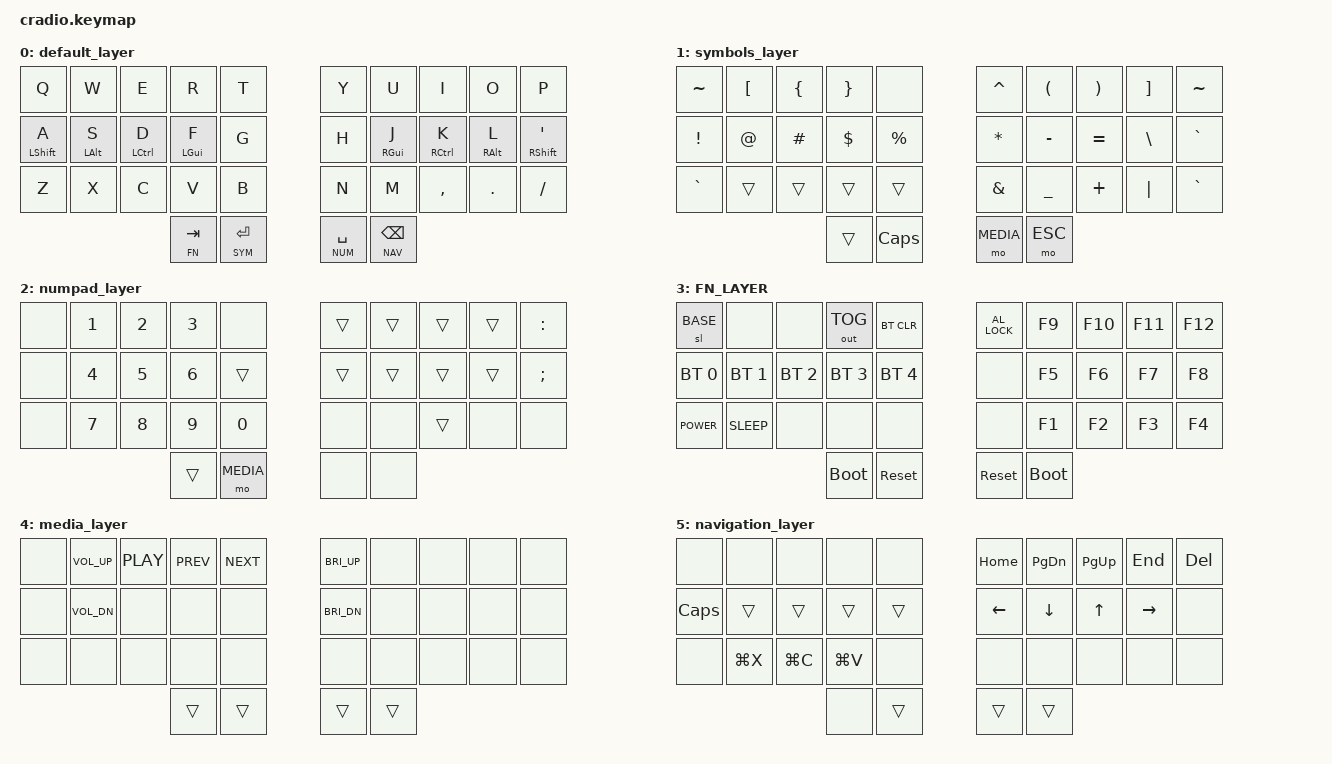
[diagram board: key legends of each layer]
// Copyright (c) 2022 The ZMK Contributors
// SPDX-License-Identifier: MIT

#include <behaviors.dtsi>
#include <dt-bindings/zmk/keys.h>
#include <dt-bindings/zmk/bt.h>
#include <dt-bindings/zmk/outputs.h>

#define QUICK_TAP_MS 150
#define TAPPING_TERM_MS 200
#define PRIOR_IDLE_MS 150

#define _SPC_    &kp SPACE
#define _CUT_    &kp LG(X)
#define _COPY_   &kp LG(C)
#define _PASTE_  &kp LG(V)
#define ___      &trans
#define _x_      &none

#define BASE 0
#define SYM 1
#define NUM 2
#define FN 3
#define MEDIA 4
#define NAV 5

// Key position groups for home row mods (34 keys layout)
#define LEFT_KEYS 0 1 2 3 4 5 6 7 8 9 10 11 12 13 14
#define RIGHT_KEYS 15 16 17 18 19 20 21 22 23 24 25 26 27 28 29
#define THUMB_KEYS 30 31 32 33

/ {
    combos {
        compatible = "zmk,combos";

        combo_esc {
            timeout-ms = <50>;
            key-positions = <0 1>; // Q + W
            bindings = <&kp ESC>;
        };

        combo_enter {
            timeout-ms = <50>;
            key-positions = <21 22>; // J + K
            bindings = <&kp ENTER>;
        };
    };

    behaviors {
        hml: hml {
          compatible = "zmk,behavior-hold-tap";
          #binding-cells = <2>;
          flavor = "balanced";
          tapping-term-ms = <TAPPING_TERM_MS>;
          quick-tap-ms = <QUICK_TAP_MS>;
          require-prior-idle-ms = <PRIOR_IDLE_MS>;
          bindings = <&kp>, <&kp>;
          hold-trigger-key-positions = <RIGHT_KEYS THUMB_KEYS>;
          hold-trigger-on-release;
        };

        hmr: hmr {
          compatible = "zmk,behavior-hold-tap";
          #binding-cells = <2>;
          flavor = "balanced";
          tapping-term-ms = <TAPPING_TERM_MS>;
          quick-tap-ms = <QUICK_TAP_MS>;
          require-prior-idle-ms = <PRIOR_IDLE_MS>;
          bindings = <&kp>, <&kp>;
          hold-trigger-key-positions = <LEFT_KEYS THUMB_KEYS>;
          hold-trigger-on-release;
        };
    };

    keymap {
        compatible = "zmk,keymap";

        // Layer 0: BASE
        default_layer {
            bindings = <
        //╭──────────┬──────────┬──────────┬──────────┬──────────╮   ╭──────────┬──────────┬──────────┬──────────┬──────────╮
        //│  Q       │  W       │  E       │  R       │  T       │   │  Y       │  U       │  I       │  O       │  P       │
            &kp Q    &kp W      &kp E      &kp R      &kp T          &kp Y      &kp U      &kp I      &kp O      &kp P
        //├──────────┼──────────┼──────────┼──────────┼──────────┤   ├──────────┼──────────┼──────────┼──────────┼──────────┤
        //│  A       │  S       │  D       │  F       │  G       │   │  H       │  J       │  K       │  L       │ ' "      │
     &hml LSHFT A &hml LALT S &hml LCTRL D  &hml LGUI F  &kp G      &kp H  &hmr RGUI J &hmr RCTRL K &hmr RALT L  &hmr RSHFT SQT
        //├──────────┼──────────┼──────────┼──────────┼──────────┤   ├──────────┼──────────┼──────────┼──────────┼──────────┤
        //│  Z       │  X       │  C       │  V       │  B       │   │  N       │  M       │ , <      │ . >      │ / ?      │
            &kp Z      &kp X      &kp C      &kp V      &kp B          &kp N      &kp M      &kp COMMA  &kp DOT    &kp FSLH
        //╰──────────┴──────────┴──────────┼──────────┼──────────┤   ├──────────┼──────────┼──────────┴──────────┴──────────╯
                                           &lt FN TAB &lt SYM ENTER  &lt NUM SPACE &lt NAV BSPC
        //                                 ╰──────────┴──────────╯   ╰──────────┴──────────╯
            >;
        };

        // Layer 1: SYM (Symbols)
        symbols_layer {
            bindings = <
        //╭──────────┬──────────┬──────────┬──────────┬──────────╮   ╭──────────┬──────────┬──────────┬──────────┬──────────╮
        //│ ~        │  [       │  {       │  }       │          │   │  ^       │  (       │  )       │  ]       │  ~       │
            &kp TILDE  &kp LBKT   &kp LBRC   &kp RBRC     _x_         &kp CARET  &kp LPAR   &kp RPAR   &kp RBKT   &kp TILDE
        //├──────────┼──────────┼──────────┼──────────┼──────────┤   ├──────────┼──────────┼──────────┼──────────┼──────────┤
        //│  !       │  @       │  #       │  $       │  %       │   │  *       │  -       │  =       │  \       │  `       │
            &kp EXCL   &kp AT     &kp HASH   &kp DLLR   &kp PRCNT      &kp ASTRK  &kp MINUS  &kp EQUAL  &kp BSLH   &kp GRAVE
        //├──────────┼──────────┼──────────┼──────────┼──────────┤   ├──────────┼──────────┼──────────┼──────────┼──────────┤
        //│ `        │          │          │          │          │   │  &       │  _       │  +       │  │       │  `       │
            &kp GRAVE    ___        ___        ___         ___         &kp AMPS   &kp UNDER  &kp PLUS   &kp PIPE   &kp GRAVE
        //╰──────────┴──────────┴──────────┼──────────┼──────────┤   ├──────────┼──────────┼──────────┴──────────┴──────────╯
                                              ___    &kp CAPSLOCK     &mo MEDIA  &mo ESC
        //                                 ╰──────────┴──────────╯   ╰──────────┴──────────╯
            >;
        };

        // Layer 2: NUM (Numpad)
        numpad_layer {
            bindings = <
        //╭──────────┬──────────┬──────────┬──────────┬──────────╮   ╭──────────┬──────────┬──────────┬──────────┬──────────╮
        //│          │  1       │  2       │  3       │          │   │          │          │          │          │  :       │
              _x_       &kp N1     &kp N2     &kp N3      _x_          ___          ___        ___        ___      &kp COLON
        //├──────────┼──────────┼──────────┼──────────┼──────────┤   ├──────────┼──────────┼──────────┼──────────┼──────────┤
        //│          │  4       │  5       │  6       │          │   │          │          │          │          │  ;       │
              _x_       &kp N4     &kp N5     &kp N6      ___          ___          ___        ___        ___      &kp SEMI
        //├──────────┼──────────┼──────────┼──────────┼──────────┤   ├──────────┼──────────┼──────────┼──────────┼──────────┤
        //│          │  7       │  8       │  9       │  0       │   │          │          │          │          │          │
              _x_      &kp N7     &kp N8     &kp N9     &kp N0          _x_         _x_         ___        _x_        _x_
        //╰──────────┴──────────┴──────────┼──────────┼──────────┤   ├──────────┼──────────┼──────────┴──────────┴──────────╯
                                              ___      &mo MEDIA       _x_        _x_
        //                                 ╰──────────┴──────────╯   ╰──────────┴──────────╯
            >;
        };

        // Layer 3: FN (Function Keys F1-F12 + Bluetooth)
        FN_LAYER {
            bindings = <
        //╭──────────┬──────────┬──────────┬──────────┬──────────╮   ╭──────────┬──────────┬──────────┬──────────┬──────────╮
        //│ BASE     │          │          │ OUT_TOG  │ BT_CLR   │   │ AL_LOCK  │  F9      │  F10     │  F11     │  F12     │
            &sl BASE     _x_        _x_     &out OUT_TOG  &bt BT_CLR   &kp C_AL_LOCK  &kp F9    &kp F10    &kp F11    &kp F12
        //├──────────┼──────────┼──────────┼──────────┼──────────┤   ├──────────┼──────────┼──────────┼──────────┼──────────┤
        //│ BT0      │ BT1      │ BT2      │ BT3      │ BT4      │   │          │  F5      │  F6      │  F7      │  F8      │
 &bt BT_SEL 0 &bt BT_SEL 1  &bt BT_SEL 2 &bt BT_SEL 3 &bt BT_SEL 4       _x_        &kp F5    &kp F6     &kp F7     &kp F8
        //├──────────┼──────────┼──────────┼──────────┼──────────┤   ├──────────┼──────────┼──────────┼──────────┼──────────┤
        //│ POWER    │ SLEEP    │          │          │          │   │          │  F1      │  F2      │  F3      │  F4      │
        &kp C_POWER &kp C_SLEEP    _x_        _x_         _x_            _x_       &kp F1     &kp F2     &kp F3     &kp F4
        //╰──────────┴──────────┴──────────┼──────────┼──────────┤   ├──────────┼──────────┼──────────┴──────────┴──────────╯
                                           &bootloader &sys_reset     &sys_reset &bootloader
        //                                 ╰──────────┴──────────╯   ╰──────────┴──────────╯
            >;
        };

        // Layer 4: MEDIA (Media Controls & Brightness)
        media_layer {
            bindings = <
        //╭──────────┬──────────┬──────────┬──────────┬──────────╮   ╭──────────┬──────────┬──────────┬──────────┬──────────╮
        //│          │ VOL_UP   │ PLAY     │ PREV     │ NEXT     │   │ BRI_UP   │          │          │          │          │
              _x_    &kp C_VOL_UP &kp C_PLAY &kp C_PREV &kp C_NEXT   &kp C_BRI_UP   _x_        _x_        _x_        _x_
        //├──────────┼──────────┼──────────┼──────────┼──────────┤   ├──────────┼──────────┼──────────┼──────────┼──────────┤
        //│          │ VOL_DOWN │          │          │          │   │ BRI_DOWN │          │          │          │          │
            _x_   &kp C_VOL_DN      _x_        _x_       _x_          &kp C_BRI_DN   _x_        _x_        _x_        _x_
        //├──────────┼──────────┼──────────┼──────────┼──────────┤   ├──────────┼──────────┼──────────┼──────────┼──────────┤
        //│          │          │          │          │          │   │          │          │          │          │          │
              _x_        _x_        _x_         _x_       _x_            _x_        _x_        _x_        _x_        _x_
        //╰──────────┴──────────┴──────────┼──────────┼──────────┤   ├──────────┼──────────┼──────────┴──────────┴──────────╯
                                              ___        ___             ___        ___
        //                                 ╰──────────┴──────────╯   ╰──────────┴──────────╯
            >;
        };

        // Layer 5: NAV (Navigation & Editing)
        navigation_layer {
            bindings = <
        //╭──────────┬──────────┬──────────┬──────────┬──────────╮   ╭──────────┬──────────┬──────────┬──────────┬──────────╮
        //│          │          │          │          │          │   │ HOME     │ PG_DN    │ PG_UP    │ END      │ DEL      │
                _x_         _x_         _x_         _x_         _x_           &kp HOME   &kp PG_DN  &kp PG_UP   &kp END         &kp DEL
        //├──────────┼──────────┼──────────┼──────────┼──────────┤   ├──────────┼──────────┼──────────┼──────────┼──────────┤
        //│ CAPS     │          │          │          │          │   │ LEFT     │ DOWN     │ UP       │ RIGHT    │          │
              &kp CAPS      ___         ___         ___         ___           &kp LEFT    &kp DOWN     &kp UP    &kp RIGHT      _x_
        //├──────────┼──────────┼──────────┼──────────┼──────────┤   ├──────────┼──────────┼──────────┼──────────┼──────────┤
        //│          │ CUT      │ COPY     │ PASTE    │          │   │          │          │          │          │          │
                _x_         _CUT_      _COPY_     _PASTE_       _x_             _x_         _x_         _x_         _x_         _x_
        //╰──────────┴──────────┴──────────┼──────────┼──────────┤   ├──────────┼──────────┼──────────┴──────────┴──────────╯
                                              _x_        ___             ___        ___
        //                                 ╰──────────┴──────────╯   ╰──────────┴──────────╯
            >;
        };
    };
};
